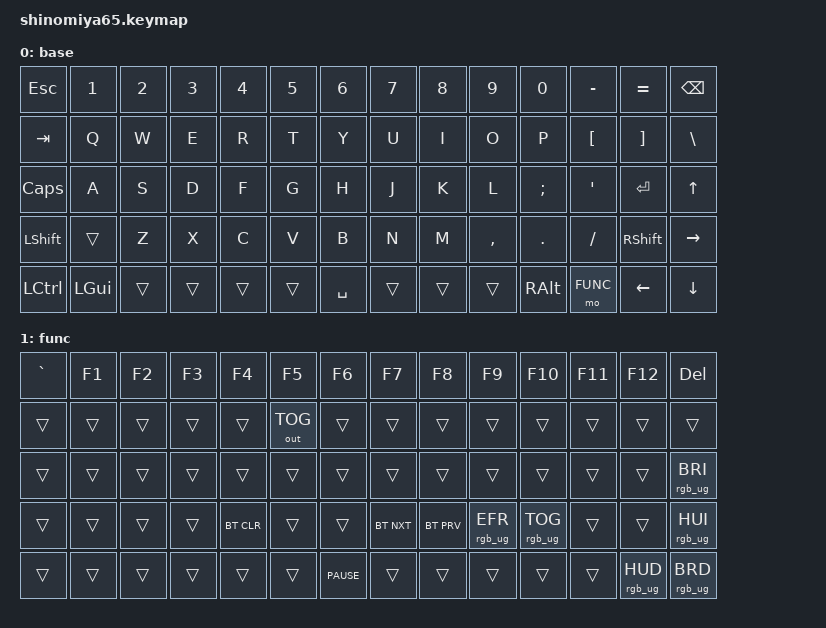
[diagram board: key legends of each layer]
// Copyright (c) 2023 The ZMK Contributors
// SPDX-License-Identifier: MIT

#include <behaviors.dtsi>
#include <dt-bindings/zmk/keys.h>
#include <dt-bindings/zmk/rgb.h>
#include <dt-bindings/zmk/bt.h>
#include <dt-bindings/zmk/outputs.h>

#define BASE  0
#define FUNC  1

//
// ---------- Shinomiya65 key switch positions ----------
//
// -------------------------------------------------------------------------------------------
// |  0  |  1  |  2  |  3  |  4  |  5  |  6  |  7  |  8  |  9  |  10  |  11  |  12  |   13   |
// -------------------------------------------------------------------------------------------
// |  14    |  15 |  16 |  17 |  18 |  19 |  20 |  21 |  22 |  23 |  24 |  25 |  26 |   27   |
// -------------------------------------------------------------------------------------------------
// |  28     |  29 |  30 |  31 |  32 |  33 |  34 |  35 |  36 |  37 |  38 |  39  |     40     |  41 |
// -------------------------------------------------------------------------------------------------
// |     42     |  44 |  45 |  46 |  47 |  48 |  49 |  50 |  51 |  52 |  53 |    54   |  55  |
// -------------------------------------------------------------------------------------------
// |   56   |   57   |                    62                  |   66   |   67   |  68 |  69  |
// -------------------------------------------------------------------------------------------


/ {
    combos {
        compatible = "zmk,combos";

        // FN + R = &bootloader
        combo_bootloader {
            timeout-ms = <100>;
            key-positions = <18 67>;
            bindings = <&bootloader>;
        };
    };


    keymap {
        compatible = "zmk,keymap";

        base {
// --------- Default QWERTY Layout ---------
// Layer 0 BASE
// NOTE: -- UP and RIGHT ARROW is wired to the row above -- 
// -------------------------------------------------------------------------------------------
// | ESC |  1  |  2  |  3  |  4  |  5  |  6  |  7  |  8  |  9  |  0  |  -  |  =  |    BSPC   |
// -------------------------------------------------------------------------------------------
// | TAB    |  Q  |  W  |  E  |  R  |  T  |  Y  |  U  |  I  |  O  |  P  |  [  |  ]   |   \   |
// -------------------------------------------------------------------------------------------------
// | CAPS    |  A  |  S  |  D  |  F  |  G  |  H  |  J  |  K  |  L  |  ;  |  '   |    ENTER   |  ↑  |
// -------------------------------------------------------------------------------------------------
// | LSHIFT     |  Z  |  X  |  C  |  V  |  B  |  N  |  M  |  ,  |  .  |  /  |    RSHFT | ->  |
// -------------------------------------------------------------------------------------------
// |  LCTL  |  LGUI  |                  SPACE                  |  RALT  |  FUNC  |  <- |  ↓  |
// -------------------------------------------------------------------------------------------
            bindings = <
&kp ESC  &kp N1  &kp N2  &kp N3  &kp N4  &kp N5  &kp N6  &kp N7  &kp N8  &kp N9  &kp N0  &kp MINUS &kp EQUAL  &kp BSPC
&kp TAB   &kp Q   &kp W   &kp E   &kp R   &kp T   &kp Y   &kp U   &kp I   &kp O   &kp P   &kp LBKT  &kp RBKT   &kp BSLH
&kp CLCK   &kp A   &kp S   &kp D   &kp F   &kp G   &kp H   &kp J   &kp K   &kp  L  &kp SEMI  &kp SQT  &kp ENTER  &kp UP
&kp LSHFT  &trans  &kp Z   &kp X   &kp C   &kp V   &kp B   &kp N   &kp M   &kp COMMA  &kp DOT  &kp FSLH  &kp RSHFT  &kp RIGHT
&kp LCTRL  &kp LGUI &trans &trans  &trans  &trans  &kp SPACE  &trans  &trans  &trans  &kp RALT  &mo FUNC  &kp LEFT  &kp DOWN
            >;
        };

        



        func {
// --------- Layer 1 FUNC ---------
// -------------------------------------------------------------------------------------------
// | ESC | F1  | F2  | F3  | F4  | F5  | F6  | F7  | F8  | F9  | F10 | F11 | F12 |    DEL    |
// -------------------------------------------------------------------------------------------
// | ---    |  -  |  -  |  -  |  -  |  -  |  -  |  -  |  -  |  -  |  -  |  -  |  -   |   -   |
// -------------------------------------------------------------------------------------------------
// | -----   |  -  |  -  |  -  |  -  |  -  |  -  |  -  |  -  |  -  |  -  |  -   |   -----    |RGB_BRI|
// -------------------------------------------------------------------------------------------------
// | -----  |  -  |  -  |BT_CLR|  -  |  -  |BT_NXT|BT_PRV|  -  |  -  |  -  | ----- | RGB_HUI |
// -------------------------------------------------------------------------------------------
// |  ---  |  ---  |                  PAUSE                  |  ---  |  ---  |RGB_HUD|RGB_BRD|
// -------------------------------------------------------------------------------------------
             bindings = <
&kp GRAVE  &kp F1  &kp F2  &kp F3  &kp F4  &kp F5  &kp F6  &kp F7  &kp F8  &kp F9  &kp F10  &kp F11  &kp F12  &kp DEL
&trans  &trans  &trans  &trans  &trans  &out OUT_TOG  &trans  &trans  &trans  &trans  &trans  &trans  &trans  &trans
&trans  &trans  &trans  &trans  &trans  &trans  &trans  &trans  &trans  &trans  &trans  &trans  &trans  &rgb_ug RGB_BRI
&trans  &trans  &trans  &trans  &bt BT_CLR  &trans  &trans  &bt BT_NXT  &bt BT_PRV  &rgb_ug RGB_EFR  &rgb_ug RGB_TOG  &trans  &trans  &rgb_ug RGB_HUI
&trans  &trans  &trans  &trans  &trans  &trans  &kp C_PAUSE  &trans  &trans  &trans  &trans  &trans  &rgb_ug RGB_HUD  &rgb_ug RGB_BRD
            >;
        };
    };
};
